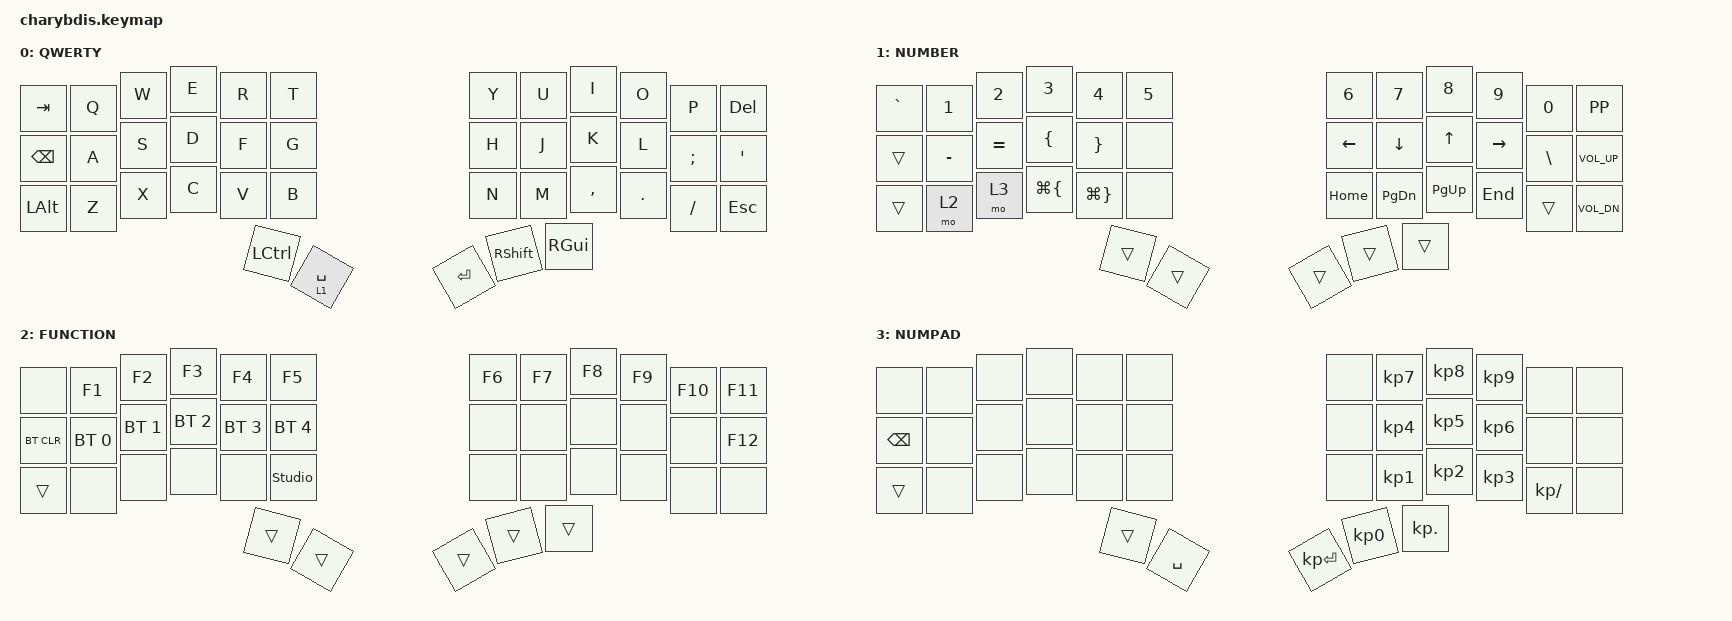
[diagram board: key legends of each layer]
#include <behaviors.dtsi>
#include <dt-bindings/zmk/keys.h>
#include <dt-bindings/zmk/bt.h>

/ {
    keymap {
        compatible = "zmk,keymap";

        default_layer {
            display-name = "QWERTY";
            bindings = <
                &kp TAB   &kp Q  &kp W  &kp E  &kp R  &kp T          &kp Y  &kp U  &kp I     &kp O   &kp P     &kp DEL
                &kp BSPC  &kp A  &kp S  &kp D  &kp F  &kp G          &kp H  &kp J  &kp K     &kp L   &kp SEMI  &kp APOS
                &kp LALT  &kp Z  &kp X  &kp C  &kp V  &kp B          &kp N  &kp M  &kp COMMA &kp DOT &kp FSLH  &kp ESC
                                         &kp LCTRL  &lt 1 SPACE    &kp RET  &kp RSHFT  &kp RGUI
            >;
        };

        number_layer {
            display-name = "NUMBER";
            bindings = <
                &kp GRAVE  &kp N1     &kp N2     &kp N3        &kp N4        &kp N5         &kp N6    &kp N7     &kp N8     &kp N9     &kp N0    &kp K_PP
                &trans     &kp MINUS  &kp EQUAL  &kp LBRC      &kp RBRC      &none          &kp LEFT  &kp DOWN   &kp UP     &kp RIGHT  &kp BSLH  &kp K_VOL_UP
                &trans     &mo 2      &mo 3      &kp LG(LBRC)  &kp LG(RBRC)  &none          &kp HOME  &kp PG_DN  &kp PG_UP  &kp END    &trans    &kp K_VOL_DN
                                                                      &trans  &trans      &trans  &trans  &trans
            >;
        };

        function_layer {
            display-name = "FUNCTION";
            bindings = <
                &none       &kp F1        &kp F2        &kp F3        &kp F4        &kp F5               &kp F6  &kp F7  &kp F8  &kp F9  &kp F10  &kp F11
                &bt BT_CLR  &bt BT_SEL 0  &bt BT_SEL 1  &bt BT_SEL 2  &bt BT_SEL 3  &bt BT_SEL 4         &none   &none   &none   &none   &none    &kp F12
                &trans      &none         &none         &none         &none         &studio_unlock       &none   &none   &none   &none   &none    &none
                                                                                   &trans  &trans      &trans  &trans  &trans
            >;
        };

        numpad_layer {
            display-name = "NUMPAD";
            bindings = <
                &none     &none  &none  &none  &none  &none          &none  &kp KP_N7  &kp KP_N8  &kp KP_N9  &none         &none
                &kp BSPC  &none  &none  &none  &none  &none          &none  &kp KP_N4  &kp KP_N5  &kp KP_N6  &none         &none
                &trans    &none  &none  &none  &none  &none          &none  &kp KP_N1  &kp KP_N2  &kp KP_N3  &kp KP_SLASH  &none
                                            &trans  &kp SPACE      &kp KP_ENTER  &kp KP_N0  &kp KP_DOT
            >;
        };
    };
};
